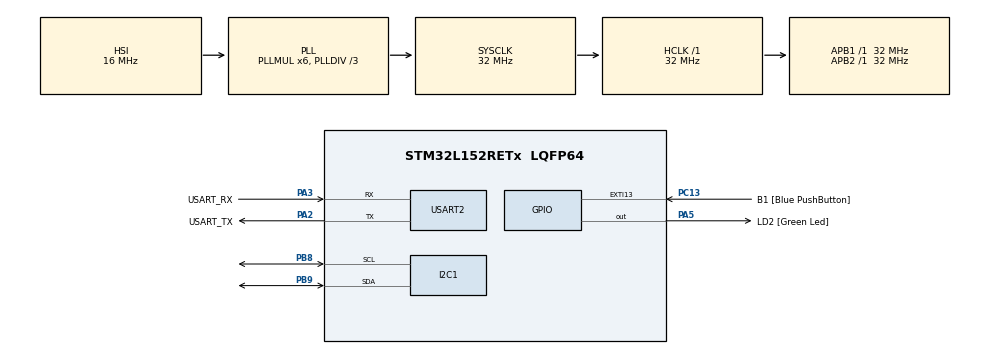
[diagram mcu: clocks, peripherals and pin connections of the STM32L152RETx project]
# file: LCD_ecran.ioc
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Mcu.Family=STM32L1
RCC.MSI_VALUE=2097000
PC15-OSC32_OUT.Mode=LSE-External-Oscillator
PH0-OSC_IN.Signal=RCC_OSC_IN
PA14.GPIO_Label=TCK
PC14-OSC32_IN.Signal=RCC_OSC32_IN
RCC.SYSCLKSource=RCC_SYSCLKSOURCE_PLLCLK
ProjectManager.StackSize=0x400
PA13.Signal=SYS_JTMS-SWDIO
PA3.Mode=Asynchronous
RCC.PLLDIV=RCC_PLL_DIV3
ProjectManager.TargetToolchain=STM32CubeIDE
RCC.HCLKFreq_Value=32000000
PC13-WKUP2.GPIO_Label=B1 [Blue PushButton]
PB9.Mode=I2C
RCC.APB2TimFreq_Value=32000000
PC15-OSC32_OUT.Signal=RCC_OSC32_OUT
RCC.AHBFreq_Value=32000000
PH0-OSC_IN.Mode=HSE-External-Clock-Source
PA5.Signal=GPIO_Output
RCC.HSE_VALUE=8000000
PC13-WKUP2.Signal=GPXTI13
board=NUCLEO-L152RE
RCC.VCOOutputFreq_Value=96000000
RCC.PLLMUL=RCC_PLL_MUL6
RCC.APB2Freq_Value=32000000
PC14-OSC32_IN.Mode=LSE-External-Oscillator
RCC.RTCClockSelectionVirtual=RCC_RTCCLKSOURCE_LSE
PA14.Mode=Serial_Wire
PH1-OSC_OUT.Signal=RCC_OSC_OUT
PA13.Mode=Serial_Wire
Mcu.Name=STM32L152RETx
PA2.Signal=USART2_TX
PA13.GPIO_Label=TMS
RCC.48MHZClocksFreq_Value=48000000
PB3.Signal=SYS_JTDO-TRACESWO
RCC.SYSCLKFreq_VALUE=32000000
Mcu.Package=LQFP64
PB9.Signal=I2C1_SDA
PA5.GPIO_Label=LD2 [Green Led]
USART2.VirtualMode=VM_ASYNC
RCC.USBOutput=48000000
PA2.GPIO_Label=USART_TX
PA14.Signal=SYS_JTCK-SWCLK
ProjectManager.HeapSize=0x200
RCC.HSI_VALUE=16000000
NVIC.PriorityGroup=NVIC_PRIORITYGROUP_0
PB8.Mode=I2C
RCC.APB1TimFreq_Value=32000000
PA2.Mode=Asynchronous
PB8.Signal=I2C1_SCL
RCC.APB1Freq_Value=32000000
PA3.GPIO_Label=USART_RX
PA3.Signal=USART2_RX
PB3.GPIO_Label=SWO

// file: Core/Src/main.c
 /* USER CODE BEGIN Header */
/**
  ******************************************************************************
  * @file           : main.c
  * @brief          : Main program body
  ******************************************************************************
  * @attention
  *
  * <h2><center>&copy; Copyright (c) 2021 STMicroelectronics.
  * All rights reserved.</center></h2>
  *
  * This software component is licensed by ST under BSD 3-Clause license,
  * the "License"; You may not use this file except in compliance with the
  * License. You may obtain a copy of the License at:
  *                        opensource.org/licenses/BSD-3-Clause
  *
  ******************************************************************************
  */
/* USER CODE END Header */
#include "main.h"
#include "i2c.h"
#include "usart.h"
#include "gpio.h"
#include "lib_lcd.h"
#include <stdio.h>
#include <stdlib.h>

static rgb_lcd lcdData;

void SystemClock_Config(void);

int main(void)
{

  /* MCU Configuration--------------------------------------------------------*/

  /* Reset of all peripherals, Initializes the Flash interface and the Systick. */
  HAL_Init();

  /* Configure the system clock */
  SystemClock_Config();

  /* Initialize all configured peripherals */
  MX_GPIO_Init();
  MX_USART2_UART_Init();
  MX_I2C1_Init();
  lcd_init(&hi2c1,&lcdData);
  char bufferL[10];
  lcd_position(&hi2c1,0,0);
  //lcd_print(&hi2c1, "T(C) = ");
  lcd_print("T(C) = ");
  lcd_position(&hi2c1,0,1);
  lcd_print("H(%) = ");
  //lcd_print(&hi2c1, "H(%) = ");
  //lcd_write(&hi2c1, 10);
  uint8_t data[6] = {0};
  int T = 0, H = 0;

  /* USER CODE BEGIN 2 */
  data[1] = 0x2D;
  data[0] = 0xF3;

  HAL_I2C_Master_Transmit(&hi2c1,0x44<<1,data,2,5000);
  HAL_I2C_Master_Receive(&hi2c1,0x44<<1,data,3,5000);

  /* USER CODE END 2 */

  /* Infinite loop */
  while (1)
  {

    /* USER CODE BEGIN 3 */

	 // ENVOIE DE LA COMMANDE
	  data[1] = 0x06;
	  data[0] = 0x2C;
	  HAL_I2C_Master_Transmit(&hi2c1,0x44<<1,data,2,5000);
	  HAL_Delay(300);
	  HAL_I2C_Master_Receive(&hi2c1,0x44<<1,data,6,5000);

	  // RECEPTION TEMPERATURE ET HYDROMETRIE

	  T = -45.0 + 175.0 *(((((uint16_t)data[0]) << 8) | data[1]) / 65535.0);
	  H = 100.0 * (((((uint16_t)data[4]) << 8) | data[5]) / 65535.0);

	 // T = (((data[0] * 256) + data[1]) * 175.0) / 65535.0 - 45.0;
	 // H = (((data[3] * 256) + data[4])) * 100.0 / 65535.0;

	 //AFFICHAGE LCD
	  lcd_position(&hi2c1,8,0); // ON POSITIONNE LE CURSEUR SUR ECRAN LCD
	  sprintf(bufferL, "%d", T); // ON ECRIT LA TEMPERATURE
	  lcd_print(bufferL); // ON VIDE NOTRE TAMPON

	  lcd_position(&hi2c1,8,1);
	  sprintf(bufferL, "%d", H); // ON ECRIT HYDROMETRIE
	  lcd_print(bufferL); // ON VIDE NOTRE BUFFER
	  reglagecouleur(17,255,0);
	  HAL_Delay(800);
	  reglagecouleur(255,239,0);
	  HAL_Delay(800);
	  reglagecouleur(255,0,26);
	  HAL_Delay(800);

  }
  return 0;
  /* USER CODE END 3 */
}

void SystemClock_Config(void)
{
  RCC_OscInitTypeDef RCC_OscInitStruct = {0};
  RCC_ClkInitTypeDef RCC_ClkInitStruct = {0};

  /** Configure the main internal regulator output voltage
  */
  __HAL_PWR_VOLTAGESCALING_CONFIG(PWR_REGULATOR_VOLTAGE_SCALE1);
  /** Initializes the RCC Oscillators according to the specified parameters
  * in the RCC_OscInitTypeDef structure.
  */
  RCC_OscInitStruct.OscillatorType = RCC_OSCILLATORTYPE_HSI;
  RCC_OscInitStruct.HSIState = RCC_HSI_ON;
  RCC_OscInitStruct.HSICalibrationValue = RCC_HSICALIBRATION_DEFAULT;
  RCC_OscInitStruct.PLL.PLLState = RCC_PLL_ON;
  RCC_OscInitStruct.PLL.PLLSource = RCC_PLLSOURCE_HSI;
  RCC_OscInitStruct.PLL.PLLMUL = RCC_PLL_MUL6;
  RCC_OscInitStruct.PLL.PLLDIV = RCC_PLL_DIV3;
  if (HAL_RCC_OscConfig(&RCC_OscInitStruct) != HAL_OK)
  {
    Error_Handler();
  }
  /** Initializes the CPU, AHB and APB buses clocks
  */
  RCC_ClkInitStruct.ClockType = RCC_CLOCKTYPE_HCLK|RCC_CLOCKTYPE_SYSCLK
                              |RCC_CLOCKTYPE_PCLK1|RCC_CLOCKTYPE_PCLK2;
  RCC_ClkInitStruct.SYSCLKSource = RCC_SYSCLKSOURCE_PLLCLK;
  RCC_ClkInitStruct.AHBCLKDivider = RCC_SYSCLK_DIV1;
  RCC_ClkInitStruct.APB1CLKDivider = RCC_HCLK_DIV1;
  RCC_ClkInitStruct.APB2CLKDivider = RCC_HCLK_DIV1;

  if (HAL_RCC_ClockConfig(&RCC_ClkInitStruct, FLASH_LATENCY_1) != HAL_OK)
  {
    Error_Handler();
  }
}

void Error_Handler(void)
{
  __disable_irq();
  while (1)
  {
  }
}

/************************ (C) COPYRIGHT STMicroelectronics *****END OF FILE****/
